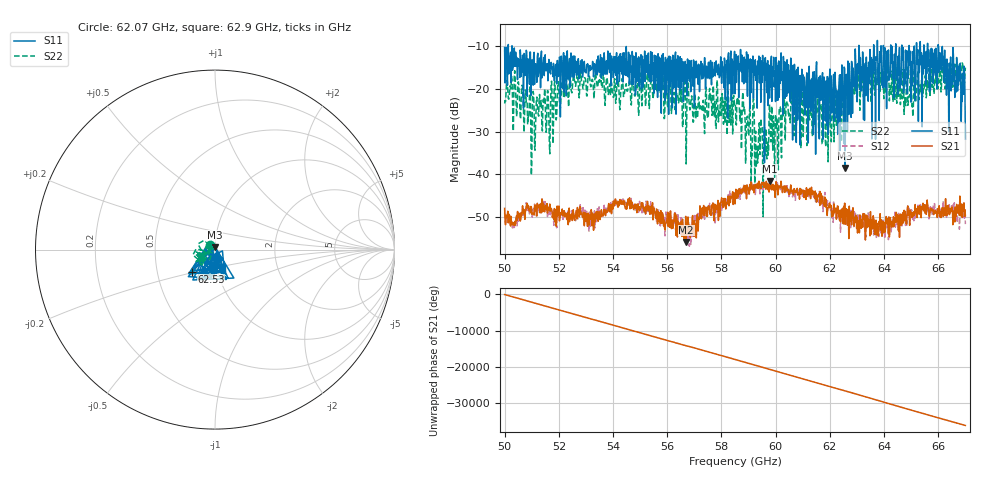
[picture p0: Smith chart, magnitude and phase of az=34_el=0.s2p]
!Created with skrf (http://scikit-rf.org).
# GHz S RI R 50.0
!freq ReS11 ImS11 ReS21 ImS21 ReS12 ImS12 ReS22 ImS22
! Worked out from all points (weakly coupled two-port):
!   1001 points, 50 GHz to 67 GHz, reference 50 ohm
!   highest |S21| = -41.60 dB at 59.77 GHz (marker M1); lowest = -55.9 dB at 56.7 GHz (marker M2)
!   lowest |S11| = -38.5 dB at 62.56 GHz (marker M3), VSWR 1.02, Z = 49.9 + j1.18 ohm
!   |S11| at or under -10 dB: 50.27 GHz to 63.07 GHz (12.8 GHz wide, 22.6 % of centre); 63.07 GHz to 63.62 GHz (541.7 MHz wide, 0.855 % of centre); 66.01 GHz to end of sweep (the widest 3 of 18)
!   |S22| runs from -50.0 to -13.6 dB; largest |S21 - S12| = 0.0027
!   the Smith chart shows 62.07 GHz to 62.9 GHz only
!   S11 on the Smith chart (normalised r, x): 62.07 GHz: 1.02, -0.10; 62.53 GHz: 0.75, -0.19; 62.9 GHz: 1.06, -0.21
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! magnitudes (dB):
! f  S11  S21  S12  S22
! 50 GHz  -10.3  -48.0  -49.0  -23.4
! 50.44 GHz  -12.6  -49.7  -50.9  -26.5
! 51.05 GHz  -19.1  -49.2  -48.2  -20.6
! 51.26 GHz  -16.2  -47.5  -47.3  -26.4
! 51.72 GHz  -13.8  -48.0  -49.3  -18.6
! 51.9 GHz  -14.2  -52.2  -50.7  -27.3
! 52.84 GHz  -14.4  -49.4  -49.1  -18.3
! 55.68 GHz  -13.8  -50.1  -48.2  -20.0
! 56.7 GHz  -14.3  -55.9  -55.2  -37.6
! 58.5 GHz  -21.2  -47.0  -44.3  -24.2
! 59.3 GHz  -14.7  -43.0  -43.4  -36.5
! 59.77 GHz  -22.2  -41.6  -42.4  -23.6
! 60.64 GHz  -14.5  -43.7  -44.7  -23.7
! 61.34 GHz  -24.2  -44.5  -44.7  -27.8
! 62.07 GHz  -25.6  -50.0  -50.2  -28.3
! 62.53 GHz  -14.9  -51.1  -50.3  -19.0
! 62.56 GHz  -38.5  -51.7  -48.6  -21.0
! 62.9 GHz  -19.5  -50.4  -48.8  -21.2
! 64.18 GHz  -18.0  -50.0  -52.0  -18.2
! 66.08 GHz  -15.2  -48.7  -48.7  -15.1
! 66.75 GHz  -19.1  -47.9  -48.4  -16.8
! 67 GHz  -31.8  -49.7  -51.7  -15.0
